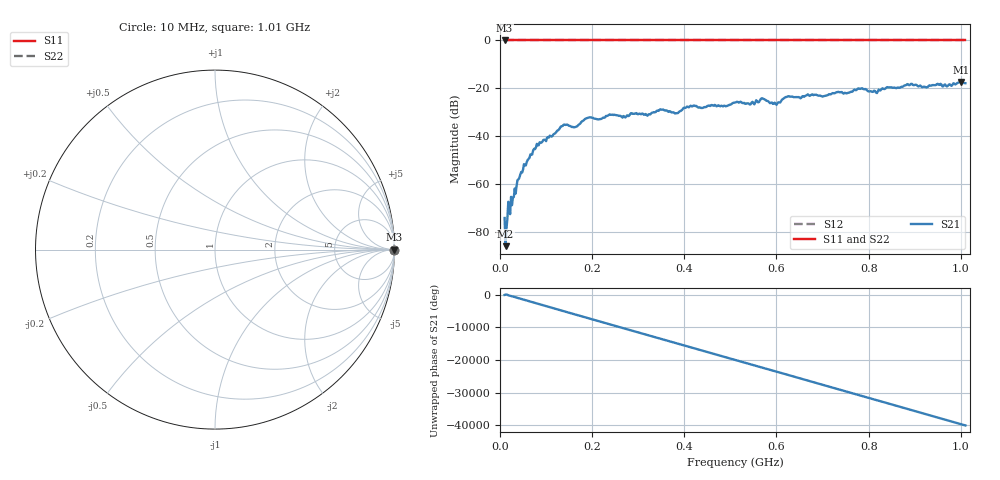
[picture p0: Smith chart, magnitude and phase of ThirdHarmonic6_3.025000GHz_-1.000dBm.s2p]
! 8/17/2025 8:43:05 AM
! C:\ANRITSUVNA\TEMP\TEMP.S2P
! CHANNEL.1
! TR.MEASUREMENT
! RAW.DATA
! RF.CORRECTION.OFF
! AVERAGING.OFF
! IF.BANDWIDTH: 5KHZ
! SWEEPTYPE:  FREQ.SWEEP(Linear)
! Reference Plane Port Info
! PORT:  PORT1  PORT2
! DISTANCE:  0  m  0  m
! TIME:  0  s  0  s
! PHASE.OFFSET:  0  deg.  0  deg.
! LOSS:  0  dB  0  dB
! REF.LOSS:  0  dB  0  dB
! REF.FREQ:  0  Hz  0  Hz
! Power Info
! POWER:  -20  dBm  -20  dBm
! EFF.POWER:  -20  dBm  -20  dBm
! SOURCE.ATTEN:  0  dB  0  dB
! TEST.ATTEN:  0  dB  0  dB
# GHZ S RI R 50.0
! FREQ.GHZ  S11RE  S11IM  S21RE  S21IM  S12RE  S12IM  S22RE  S22IM
!; PortSelection: Port_12
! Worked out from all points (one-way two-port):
!   501 points, 10 MHz to 1.01 GHz, reference 50 ohm
!   highest |S21| = -17.34 dB at 1 GHz (marker M1); lowest = -85.8 dB at 12 MHz (marker M2)
!   lowest |S11| = 0.0 dB at 10 MHz (marker M3)
!   |S11| at or under -10 dB: nowhere
!   |S22| runs from 0.0 to 0.0 dB; largest |S21 - S12| = 1.1
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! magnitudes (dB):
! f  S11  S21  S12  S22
! 10 MHz  0.0  -74.0  0.0  0.0
! 12 MHz  0.0  -85.8  0.0  0.0
! 20 MHz  0.0  -69.5  0.0  0.0
! 42 MHz  0.0  -57.3  0.0  0.0
! 76 MHz  0.0  -45.3  0.0  0.0
! 136 MHz  0.0  -35.7  0.0  0.0
! 164 MHz  0.0  -36.1  0.0  0.0
! 178 MHz  0.0  -33.7  0.0  0.0
! 344 MHz  0.0  -29.4  0.0  0.0
! 382 MHz  0.0  -30.3  0.0  0.0
! 416 MHz  0.0  -27.5  0.0  0.0
! 510 MHz  0.0  -25.9  0.0  0.0
! 540 MHz  0.0  -26.3  0.0  0.0
! 570 MHz  0.0  -24.2  0.0  0.0
! 596 MHz  0.0  -25.9  0.0  0.0
! 624 MHz  0.0  -23.4  0.0  0.0
! 678 MHz  0.0  -22.5  0.0  0.0
! 782 MHz  0.0  -20.2  0.0  0.0
! 816 MHz  0.0  -21.8  0.0  0.0
! 844 MHz  0.0  -19.6  0.0  0.0
! 1 GHz  0.0  -17.3  0.0  0.0
! 1.01 GHz  0.0  -17.8  0.0  0.0
